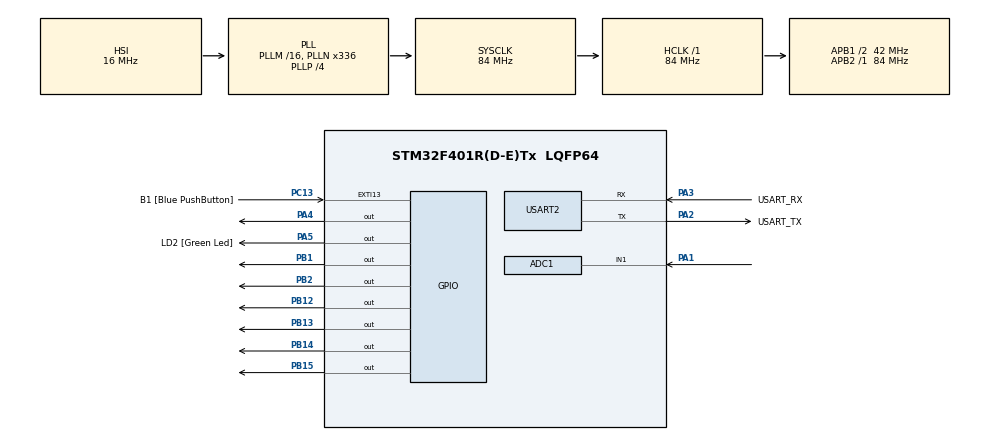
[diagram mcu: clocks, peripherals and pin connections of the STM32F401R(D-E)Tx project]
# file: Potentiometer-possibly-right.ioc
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ADC1.Channel-5\#ChannelRegularConversion=ADC_CHANNEL_1
ADC1.ExternalTrigConv=ADC_EXTERNALTRIGCONV_T2_TRGO
ADC1.NbrOfConversion=1
ADC1.NbrOfConversionFlag=1
ADC1.Rank-5\#ChannelRegularConversion=1
ADC1.SamplingTime-5\#ChannelRegularConversion=ADC_SAMPLETIME_480CYCLES
ADC1.master=1
Mcu.Family=STM32F4
Mcu.Name=STM32F401R(D-E)Tx
Mcu.Package=LQFP64
NVIC.ADC_IRQn=true\:0\:0\:false\:false\:true\:true\:true\:true
NVIC.PriorityGroup=NVIC_PRIORITYGROUP_0
PA1.Signal=SharedAnalog_PA1
PA13.GPIO_Label=TMS
PA13.Mode=Serial_Wire
PA13.Signal=SYS_JTMS-SWDIO
PA14.GPIO_Label=TCK
PA14.Mode=Serial_Wire
PA14.Signal=SYS_JTCK-SWCLK
PA2.GPIO_Label=USART_TX
PA2.GPIO_Mode=GPIO_MODE_AF_PP
PA2.GPIO_PuPd=GPIO_NOPULL
PA2.GPIO_Speed=GPIO_SPEED_FREQ_LOW
PA2.Mode=Asynchronous
PA2.Signal=USART2_TX
PA3.GPIO_Label=USART_RX
PA3.GPIO_Mode=GPIO_MODE_AF_PP
PA3.GPIO_PuPd=GPIO_NOPULL
PA3.GPIO_Speed=GPIO_SPEED_FREQ_LOW
PA3.Mode=Asynchronous
PA3.Signal=USART2_RX
PA4.Signal=GPIO_Output
PA5.GPIO_Label=LD2 [Green Led]
PA5.GPIO_Mode=GPIO_MODE_OUTPUT_PP
PA5.GPIO_PuPd=GPIO_NOPULL
PA5.GPIO_Speed=GPIO_SPEED_FREQ_LOW
PA5.Signal=GPIO_Output
PB1.Signal=GPIO_Output
PB12.Signal=GPIO_Output
PB13.Signal=GPIO_Output
PB14.Signal=GPIO_Output
PB15.Signal=GPIO_Output
PB2.Signal=GPIO_Output
PB3.GPIO_Label=SWO
PB3.Signal=SYS_JTDO-SWO
PC13-ANTI_TAMP.GPIO_Label=B1 [Blue PushButton]
PC13-ANTI_TAMP.GPIO_ModeDefaultEXTI=GPIO_MODE_IT_FALLING
PC13-ANTI_TAMP.GPIO_PuPd=GPIO_NOPULL
PC13-ANTI_TAMP.Signal=GPXTI13
PC14-OSC32_IN.Mode=LSE-External-Oscillator
PC14-OSC32_IN.Signal=RCC_OSC32_IN
PC15-OSC32_OUT.Mode=LSE-External-Oscillator
PC15-OSC32_OUT.Signal=RCC_OSC32_OUT
PH0\ -\ OSC_IN.Mode=HSE-External-Clock-Source
PH0\ -\ OSC_IN.Signal=RCC_OSC_IN
PH1\ -\ OSC_OUT.Mode=HSE-External-Clock-Source
PH1\ -\ OSC_OUT.Signal=RCC_OSC_OUT
ProjectManager.HeapSize=0x200
ProjectManager.StackSize=0x400
ProjectManager.TargetToolchain=STM32CubeIDE
RCC.48MHZClocksFreq_Value=48000000
RCC.AHBFreq_Value=84000000
RCC.APB1CLKDivider=RCC_HCLK_DIV2
RCC.APB1Freq_Value=42000000
RCC.APB1TimFreq_Value=84000000
RCC.APB2Freq_Value=84000000
RCC.APB2TimFreq_Value=84000000
RCC.CortexFreq_Value=84000000
RCC.HCLKFreq_Value=84000000
RCC.HSE_VALUE=8000000
RCC.HSI_VALUE=16000000
RCC.PLLN=336
RCC.PLLP=RCC_PLLP_DIV4
RCC.PLLQ=7
RCC.SYSCLKFreq_VALUE=84000000
RCC.SYSCLKSource=RCC_SYSCLKSOURCE_PLLCLK
RCC.VCOOutputFreq_Value=336000000
SH.SharedAnalog_PA1.0=GPIO_Analog
SH.SharedAnalog_PA1.1=ADC1_IN1,IN1
TIM1.Channel-Output\ Compare1\ No\ Output=TIM_CHANNEL_1
TIM2.Period=84000 -1
TIM2.Prescaler=1000 -1
TIM2.TIM_MasterOutputTrigger=TIM_TRGO_UPDATE
USART2.VirtualMode=VM_ASYNC
VP_TIM1_VS_no_output1.Mode=Output Compare1 No Output
VP_TIM2_VS_ClockSourceINT.Mode=Internal
board=NUCLEO-F401RE

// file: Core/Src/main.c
/* USER CODE BEGIN Header */
/**
 ******************************************************************************
 * @file           : main.c
 * @brief          : Main program body
 ******************************************************************************
 * @attention
 *
 * Copyright (c) 2024 STMicroelectronics.
 * All rights reserved.
 *
 * This software is licensed under terms that can be found in the LICENSE file
 * in the root directory of this software component.
 * If no LICENSE file comes with this software, it is provided AS-IS.
 *
 ******************************************************************************
 */
/*
 * acquire the potentiometer voltage using a timer to trigger a conversion
 *  at a regular conversion rate of 1 Hz and showing the value on the LCD.
 *
 */
/* USER CODE END Header */
#include "main.h"

/* USER CODE BEGIN Includes */
#include "PMDB16_LCD.h"
#include <string.h>
#include <math.h>

/* USER CODE END Includes */

ADC_HandleTypeDef hadc1;

TIM_HandleTypeDef htim1;
TIM_HandleTypeDef htim2;

UART_HandleTypeDef huart2;

void SystemClock_Config(void);
static void MX_GPIO_Init(void);
static void MX_USART2_UART_Init(void);
static void MX_ADC1_Init(void);
static void MX_TIM2_Init(void);
static void MX_TIM1_Init(void);

int main(void)
{

  /* MCU Configuration--------------------------------------------------------*/

  /* Reset of all peripherals, Initializes the Flash interface and the Systick. */
  HAL_Init();

  /* Configure the system clock */
  SystemClock_Config();

  /* Initialize all configured peripherals */
  MX_GPIO_Init();
  MX_USART2_UART_Init();
  MX_ADC1_Init();
  MX_TIM2_Init();
  MX_TIM1_Init();
  /* USER CODE BEGIN 2 */
	HAL_TIM_Base_Start_IT(&htim2);
	HAL_ADC_Start_IT(&hadc1);
	lcd_initialize();
	lcd_backlight_ON();

  /* USER CODE END 2 */

  /* Infinite loop */
	while (1)
	{

	}
}

void SystemClock_Config(void)
{
  RCC_OscInitTypeDef RCC_OscInitStruct = {0};
  RCC_ClkInitTypeDef RCC_ClkInitStruct = {0};

  /** Configure the main internal regulator output voltage
  */
  __HAL_RCC_PWR_CLK_ENABLE();
  __HAL_PWR_VOLTAGESCALING_CONFIG(PWR_REGULATOR_VOLTAGE_SCALE2);

  /** Initializes the RCC Oscillators according to the specified parameters
  * in the RCC_OscInitTypeDef structure.
  */
  RCC_OscInitStruct.OscillatorType = RCC_OSCILLATORTYPE_HSI;
  RCC_OscInitStruct.HSIState = RCC_HSI_ON;
  RCC_OscInitStruct.HSICalibrationValue = RCC_HSICALIBRATION_DEFAULT;
  RCC_OscInitStruct.PLL.PLLState = RCC_PLL_ON;
  RCC_OscInitStruct.PLL.PLLSource = RCC_PLLSOURCE_HSI;
  RCC_OscInitStruct.PLL.PLLM = 16;
  RCC_OscInitStruct.PLL.PLLN = 336;
  RCC_OscInitStruct.PLL.PLLP = RCC_PLLP_DIV4;
  RCC_OscInitStruct.PLL.PLLQ = 7;
  if (HAL_RCC_OscConfig(&RCC_OscInitStruct) != HAL_OK)
  {
    Error_Handler();
  }

  /** Initializes the CPU, AHB and APB buses clocks
  */
  RCC_ClkInitStruct.ClockType = RCC_CLOCKTYPE_HCLK|RCC_CLOCKTYPE_SYSCLK
                              |RCC_CLOCKTYPE_PCLK1|RCC_CLOCKTYPE_PCLK2;
  RCC_ClkInitStruct.SYSCLKSource = RCC_SYSCLKSOURCE_PLLCLK;
  RCC_ClkInitStruct.AHBCLKDivider = RCC_SYSCLK_DIV1;
  RCC_ClkInitStruct.APB1CLKDivider = RCC_HCLK_DIV2;
  RCC_ClkInitStruct.APB2CLKDivider = RCC_HCLK_DIV1;

  if (HAL_RCC_ClockConfig(&RCC_ClkInitStruct, FLASH_LATENCY_2) != HAL_OK)
  {
    Error_Handler();
  }
}

static void MX_ADC1_Init(void)
{

  ADC_ChannelConfTypeDef sConfig = {0};

  /** Configure the global features of the ADC (Clock, Resolution, Data Alignment and number of conversion)
  */
  hadc1.Instance = ADC1;
  hadc1.Init.ClockPrescaler = ADC_CLOCK_SYNC_PCLK_DIV4;
  hadc1.Init.Resolution = ADC_RESOLUTION_12B;
  hadc1.Init.ScanConvMode = DISABLE;
  hadc1.Init.ContinuousConvMode = DISABLE;
  hadc1.Init.DiscontinuousConvMode = DISABLE;
  hadc1.Init.ExternalTrigConvEdge = ADC_EXTERNALTRIGCONVEDGE_RISING;
  hadc1.Init.ExternalTrigConv = ADC_EXTERNALTRIGCONV_T2_TRGO;
  hadc1.Init.DataAlign = ADC_DATAALIGN_RIGHT;
  hadc1.Init.NbrOfConversion = 1;
  hadc1.Init.DMAContinuousRequests = DISABLE;
  hadc1.Init.EOCSelection = ADC_EOC_SINGLE_CONV;
  if (HAL_ADC_Init(&hadc1) != HAL_OK)
  {
    Error_Handler();
  }

  /** Configure for the selected ADC regular channel its corresponding rank in the sequencer and its sample time.
  */
  sConfig.Channel = ADC_CHANNEL_1;
  sConfig.Rank = 1;
  sConfig.SamplingTime = ADC_SAMPLETIME_480CYCLES;
  if (HAL_ADC_ConfigChannel(&hadc1, &sConfig) != HAL_OK)
  {
    Error_Handler();
  }

}

static void MX_TIM1_Init(void)
{

  TIM_MasterConfigTypeDef sMasterConfig = {0};
  TIM_OC_InitTypeDef sConfigOC = {0};
  TIM_BreakDeadTimeConfigTypeDef sBreakDeadTimeConfig = {0};

  htim1.Instance = TIM1;
  htim1.Init.Prescaler = 0;
  htim1.Init.CounterMode = TIM_COUNTERMODE_UP;
  htim1.Init.Period = 65535;
  htim1.Init.ClockDivision = TIM_CLOCKDIVISION_DIV1;
  htim1.Init.RepetitionCounter = 0;
  htim1.Init.AutoReloadPreload = TIM_AUTORELOAD_PRELOAD_DISABLE;
  if (HAL_TIM_OC_Init(&htim1) != HAL_OK)
  {
    Error_Handler();
  }
  sMasterConfig.MasterOutputTrigger = TIM_TRGO_RESET;
  sMasterConfig.MasterSlaveMode = TIM_MASTERSLAVEMODE_DISABLE;
  if (HAL_TIMEx_MasterConfigSynchronization(&htim1, &sMasterConfig) != HAL_OK)
  {
    Error_Handler();
  }
  sConfigOC.OCMode = TIM_OCMODE_TIMING;
  sConfigOC.Pulse = 0;
  sConfigOC.OCPolarity = TIM_OCPOLARITY_HIGH;
  sConfigOC.OCNPolarity = TIM_OCNPOLARITY_HIGH;
  sConfigOC.OCFastMode = TIM_OCFAST_DISABLE;
  sConfigOC.OCIdleState = TIM_OCIDLESTATE_RESET;
  sConfigOC.OCNIdleState = TIM_OCNIDLESTATE_RESET;
  if (HAL_TIM_OC_ConfigChannel(&htim1, &sConfigOC, TIM_CHANNEL_1) != HAL_OK)
  {
    Error_Handler();
  }
  sBreakDeadTimeConfig.OffStateRunMode = TIM_OSSR_DISABLE;
  sBreakDeadTimeConfig.OffStateIDLEMode = TIM_OSSI_DISABLE;
  sBreakDeadTimeConfig.LockLevel = TIM_LOCKLEVEL_OFF;
  sBreakDeadTimeConfig.DeadTime = 0;
  sBreakDeadTimeConfig.BreakState = TIM_BREAK_DISABLE;
  sBreakDeadTimeConfig.BreakPolarity = TIM_BREAKPOLARITY_HIGH;
  sBreakDeadTimeConfig.AutomaticOutput = TIM_AUTOMATICOUTPUT_DISABLE;
  if (HAL_TIMEx_ConfigBreakDeadTime(&htim1, &sBreakDeadTimeConfig) != HAL_OK)
  {
    Error_Handler();
  }

}

static void MX_TIM2_Init(void)
{

  TIM_ClockConfigTypeDef sClockSourceConfig = {0};
  TIM_MasterConfigTypeDef sMasterConfig = {0};

  htim2.Instance = TIM2;
  htim2.Init.Prescaler = 1000 -1;
  htim2.Init.CounterMode = TIM_COUNTERMODE_UP;
  htim2.Init.Period = 84000 -1;
  htim2.Init.ClockDivision = TIM_CLOCKDIVISION_DIV1;
  htim2.Init.AutoReloadPreload = TIM_AUTORELOAD_PRELOAD_DISABLE;
  if (HAL_TIM_Base_Init(&htim2) != HAL_OK)
  {
    Error_Handler();
  }
  sClockSourceConfig.ClockSource = TIM_CLOCKSOURCE_INTERNAL;
  if (HAL_TIM_ConfigClockSource(&htim2, &sClockSourceConfig) != HAL_OK)
  {
    Error_Handler();
  }
  sMasterConfig.MasterOutputTrigger = TIM_TRGO_UPDATE;
  sMasterConfig.MasterSlaveMode = TIM_MASTERSLAVEMODE_DISABLE;
  if (HAL_TIMEx_MasterConfigSynchronization(&htim2, &sMasterConfig) != HAL_OK)
  {
    Error_Handler();
  }

}

static void MX_USART2_UART_Init(void)
{

  huart2.Instance = USART2;
  huart2.Init.BaudRate = 115200;
  huart2.Init.WordLength = UART_WORDLENGTH_8B;
  huart2.Init.StopBits = UART_STOPBITS_1;
  huart2.Init.Parity = UART_PARITY_NONE;
  huart2.Init.Mode = UART_MODE_TX_RX;
  huart2.Init.HwFlowCtl = UART_HWCONTROL_NONE;
  huart2.Init.OverSampling = UART_OVERSAMPLING_16;
  if (HAL_UART_Init(&huart2) != HAL_OK)
  {
    Error_Handler();
  }

}

static void MX_GPIO_Init(void)
{
  GPIO_InitTypeDef GPIO_InitStruct = {0};

  /* GPIO Ports Clock Enable */
  __HAL_RCC_GPIOC_CLK_ENABLE();
  __HAL_RCC_GPIOH_CLK_ENABLE();
  __HAL_RCC_GPIOA_CLK_ENABLE();
  __HAL_RCC_GPIOB_CLK_ENABLE();

  /*Configure GPIO pin Output Level */
  HAL_GPIO_WritePin(GPIOA, GPIO_PIN_4|LD2_Pin, GPIO_PIN_RESET);

  /*Configure GPIO pin Output Level */
  HAL_GPIO_WritePin(GPIOB, GPIO_PIN_1|GPIO_PIN_2|GPIO_PIN_12|GPIO_PIN_13
                          |GPIO_PIN_14|GPIO_PIN_15, GPIO_PIN_RESET);

  /*Configure GPIO pin : B1_Pin */
  GPIO_InitStruct.Pin = B1_Pin;
  GPIO_InitStruct.Mode = GPIO_MODE_IT_FALLING;
  GPIO_InitStruct.Pull = GPIO_NOPULL;
  HAL_GPIO_Init(B1_GPIO_Port, &GPIO_InitStruct);

  /*Configure GPIO pins : PA4 LD2_Pin */
  GPIO_InitStruct.Pin = GPIO_PIN_4|LD2_Pin;
  GPIO_InitStruct.Mode = GPIO_MODE_OUTPUT_PP;
  GPIO_InitStruct.Pull = GPIO_NOPULL;
  GPIO_InitStruct.Speed = GPIO_SPEED_FREQ_LOW;
  HAL_GPIO_Init(GPIOA, &GPIO_InitStruct);

  /*Configure GPIO pins : PB1 PB2 PB12 PB13
                           PB14 PB15 */
  GPIO_InitStruct.Pin = GPIO_PIN_1|GPIO_PIN_2|GPIO_PIN_12|GPIO_PIN_13
                          |GPIO_PIN_14|GPIO_PIN_15;
  GPIO_InitStruct.Mode = GPIO_MODE_OUTPUT_PP;
  GPIO_InitStruct.Pull = GPIO_NOPULL;
  GPIO_InitStruct.Speed = GPIO_SPEED_FREQ_LOW;
  HAL_GPIO_Init(GPIOB, &GPIO_InitStruct);

}

/* USER CODE BEGIN 4 */
void HAL_ADC_ConvCpltCallback(ADC_HandleTypeDef *hadc)
{
	if (hadc == &hadc1) {
		uint32_t raw = HAL_ADC_GetValue(&hadc1);
		float voltage  = raw * 3.3f / 4096.0f;
		int value_bar  = (int)(80.0f * raw / 4096.0f);
		char string[20];
		snprintf(string, sizeof(string), "%.3f V", voltage);
		lcd_clear();
		lcd_println(string, 0);
		lcd_drawBar(value_bar);
	}
}
/* USER CODE END 4 */

void Error_Handler(void)
{
	__disable_irq();
	while (1)
	{
	}
}
